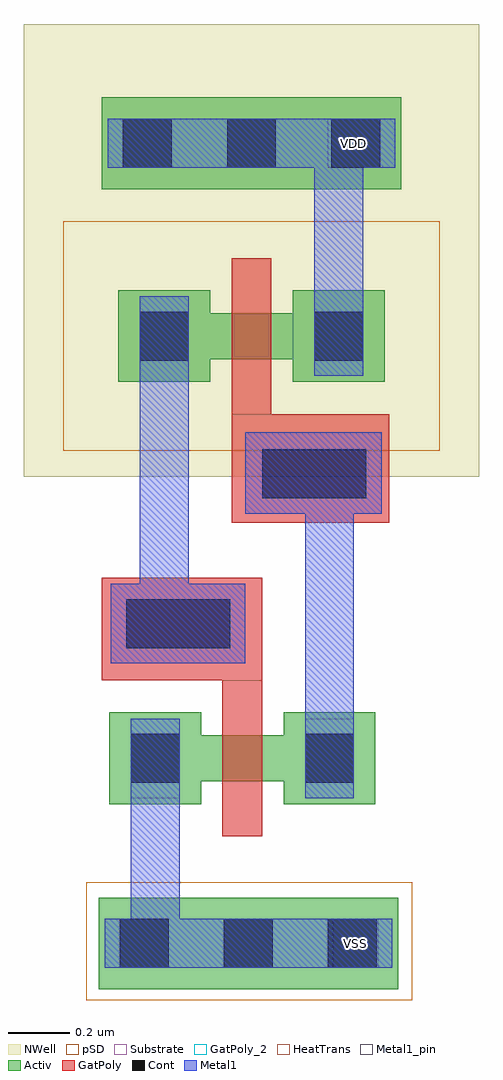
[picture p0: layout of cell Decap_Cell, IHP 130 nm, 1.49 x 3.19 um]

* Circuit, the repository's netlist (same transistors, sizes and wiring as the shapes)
** sch_path: $SCRIPT_DIR/ADC8711-main/schematic/xschem/Decap_Cell.sch
.subckt Decap_Cell VDD VSS
*.PININFO VDD:B VSS:B
MM1 net1 net2 VSS VSS sg13_lv_nmos w=0.15u l=0.13u ng=1
MM2 net2 net1 VDD VDD sg13_lv_pmos w=0.15u l=0.13u ng=1
.ends

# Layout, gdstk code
import gdstk
lib = gdstk.Library(unit=1e-6, precision=5e-09)
def R(c, l, rs):  # rectangles x0, y0, x1, y1
    for r in rs: c.add(gdstk.rectangle(r[:2], r[2:], *l))
def A(c, l, x, y, w, h, nx, ny, dx, dy):  # array of equal rectangles
    R(c, l, [(x+i*dx, y+j*dy, x+i*dx+w, y+j*dy+h) for i in range(nx) for j in range(ny)])
Activ = (1, 0)
GatPoly = (5, 0)
GatPoly_2 = (5, 2)
Cont = (6, 0)
Metal1 = (8, 0)
Metal1_pin = (8, 2)
pSD = (14, 0)
NWell = (31, 0)
Substrate = (40, 0)
HeatTrans = (51, 0)

pmos = lib.new_cell('pmos')
R(pmos, Activ, [(0,0,0.3,0.3), (0.57,0,0.87,0.3), (0,0.075,0.87,0.225)])
R(pmos, GatPoly, [(0.37,-0.105,0.5,0.405), (0.37,-0.105,0.5,0.405)])
R(pmos, Cont, [(0.07,0.07,0.23,0.23), (0.64,0.07,0.8,0.23)])
R(pmos, Metal1, [(0.07,0.02,0.23,0.28), (0.07,0.02,0.23,0.28), (0.64,0.02,0.8,0.28), (0.64,0.02,0.8,0.28)])
R(pmos, pSD, [(-0.18,-0.225,1.05,0.525)])
R(pmos, NWell, [(-0.31,-0.31,1.18,0.61)])
R(pmos, Substrate, [(0.57,0,0.87,0.3)])
R(pmos, HeatTrans, [(0.37,-0.105,0.5,0.405)])
pmos.add(gdstk.Label('pmos', (0.435,0.15), layer=63, texttype=0))
pmos.add(gdstk.Label('pmos', (0.435,0.15), layer=51, texttype=0))

nmos = lib.new_cell('nmos')
R(nmos, Activ, [(0,0,0.3,0.3), (0.57,0,0.87,0.3), (0,0.075,0.87,0.225)])
R(nmos, GatPoly, [(0.37,-0.105,0.5,0.405)])
R(nmos, GatPoly_2, [(0.37,-0.105,0.5,0.405)])
R(nmos, Cont, [(0.07,0.07,0.23,0.23), (0.64,0.07,0.8,0.23)])
R(nmos, Metal1, [(0.07,0.02,0.23,0.28), (0.64,0.02,0.8,0.28)])
R(nmos, Metal1_pin, [(0.07,0.02,0.23,0.28), (0.64,0.02,0.8,0.28)])
R(nmos, HeatTrans, [(0.37,-0.105,0.5,0.405)])
nmos.add(gdstk.Label('nmos', (0.435,0.15), layer=63, texttype=0))
nmos.add(gdstk.Label('nmos', (0.435,0.15), layer=51, texttype=0))

via_stack = lib.new_cell('via_stack')
R(via_stack, Activ, [(-0.49,-0.15,0.49,0.15)])
A(via_stack, Cont, -0.42, -0.08, 0.16, 0.16, 3, 1, 0.34, 0)
R(via_stack, Metal1, [(-0.47,-0.08,0.47,0.08)])

decap_cell = lib.new_cell('Decap_Cell')
R(decap_cell, GatPoly, [(0.26,0.385,0.785,0.72), (0.685,0.9,1.2,1.255), (0.685,1.03,0.815,1.185)])
R(decap_cell, GatPoly_2, [(0.26,0.385,0.785,0.72), (0.685,0.9,1.2,1.255)])
R(decap_cell, Cont, [(0.34,0.49,0.68,0.65), (0.785,0.98,1.125,1.14)])
R(decap_cell, Metal1, [(0.29,0.44,0.73,0.7), (0.73,0.93,1.175,1.195)])
R(decap_cell, Metal1_pin, [(1.015,-0.555,1.165,-0.395), (1,2.06,1.17,2.22)])
R(decap_cell, pSD, [(0.21,-0.66,1.275,-0.275)])
R(decap_cell, NWell, [(0.005,1.885,1.495,2.53)])
decap_cell.add(gdstk.FlexPath([(0.465,1.38),(0.465,0.7)], 0.16, ends="flush", simple_path=True, layer=8, datatype=0))  # Metal1
decap_cell.add(gdstk.FlexPath([(1.035,1.64),(1.035,2.22)], 0.16, ends="flush", simple_path=True, layer=8, datatype=0))  # Metal1
decap_cell.add(gdstk.FlexPath([(0.435,0),(0.435,-0.555)], 0.16, ends="flush", simple_path=True, layer=8, datatype=0))  # Metal1
decap_cell.add(gdstk.FlexPath([(1.005,0.26),(1.005,0.93)], 0.16, ends="flush", simple_path=True, layer=8, datatype=0))  # Metal1
decap_cell.add(gdstk.Reference(pmos, (0.315,1.36)))
decap_cell.add(gdstk.Reference(nmos, (0.285,-0.02)))
decap_cell.add(gdstk.Reference(via_stack, (0.75,2.14)))
decap_cell.add(gdstk.Reference(via_stack, (0.74,-0.475)))
decap_cell.add(gdstk.Label('VSS', (1.09,-0.475), layer=8, texttype=25))
decap_cell.add(gdstk.Label('VDD', (1.085,2.14), layer=8, texttype=25))

lib.write_gds('Decap_Cell.gds')
